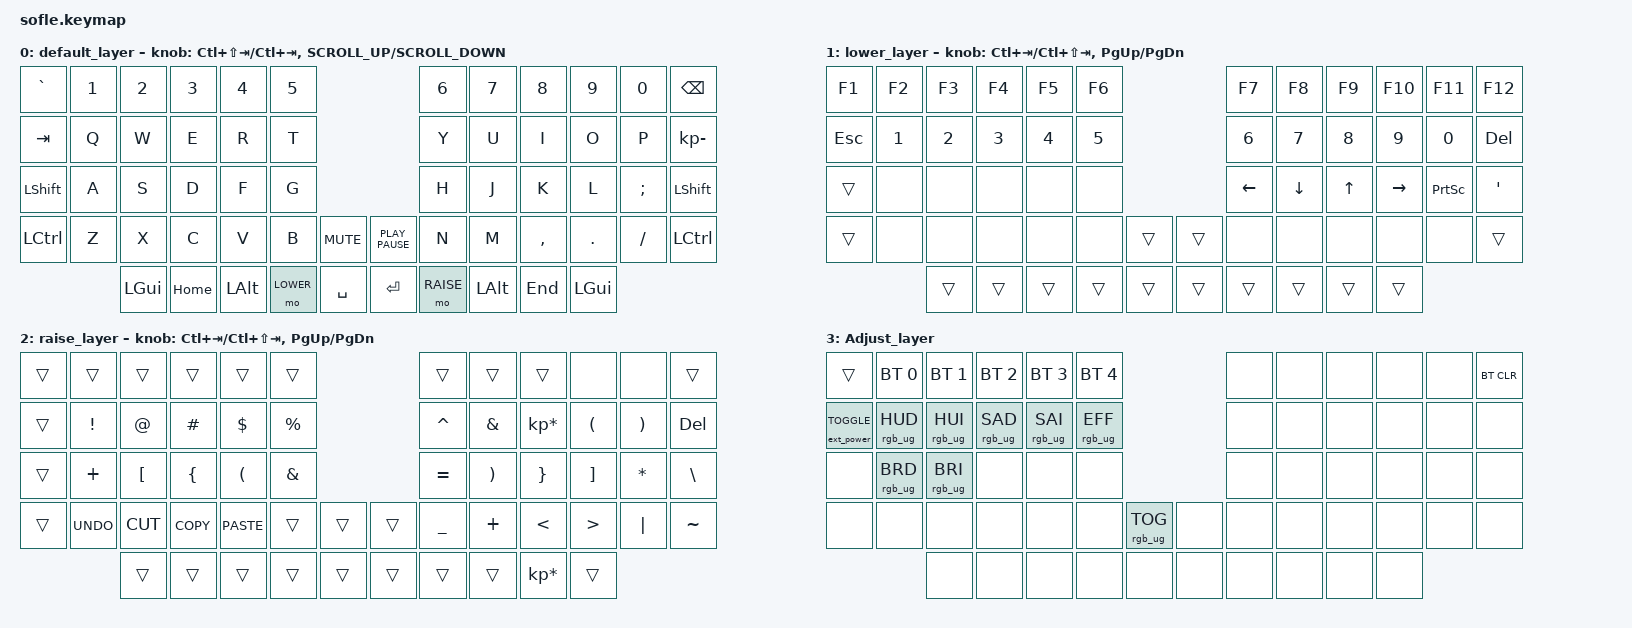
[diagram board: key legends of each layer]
/*
 * Copyright (c) 2020 The ZMK Contributors
 *
 * SPDX-License-Identifier: MIT
 */

#include <behaviors.dtsi>
#include <dt-bindings/zmk/bt.h>
#include <dt-bindings/zmk/ext_power.h>
#include <dt-bindings/zmk/keys.h>
#include <dt-bindings/zmk/rgb.h>

#define BASE 0
#define LOWER 1
#define RAISE 2
#define ADJUST 3

/ {
    // Activate ADJUST layer by pressing raise and lower

    conditional_layers {
        compatible = "zmk,conditional-layers";

        adjust_layer {
            if-layers = <LOWER RAISE>;
            then-layer = <ADJUST>;
        };
    };

    behaviors {
        gui_escape: gui_escape {
            compatible = "zmk,behavior-tap-dance";
            label = "GUI_ESCAPE";
            #binding-cells = <0>;
            bindings = <&kp LEFT_GUI>, <&kp ESCAPE>;
        };
    };

    keymap {
        compatible = "zmk,keymap";

        default_layer {
            // ------------------------------------------------------------------------------------------------------------
            // |  `    |  1  |  2  |  3   |  4   |  5   |                   |  6   |  7    |  8    |  9   |   0   | BKSPC |
            // |  ESC  |  Q  |  W  |  E   |  R   |  T   |                   |  Y   |  U    |  I    |  O   |   P   |   -   |
            // |  TAB  |  A  |  S  |  D   |  F   |  G   |                   |  H   |  J    |  K    |  L   |   ;   |   '   |
            // | SHIFT |  Z  |  X  |  C   |  V   |  B   |  MUTE  |  |       |  N   |  M    |  ,    |  .   |   /   | SHIFT |
            //               | GUI | ALT  | CTRL | LOWER|  SPACE |  | ENTER | RAISE| CTRL  | ALT   | GUI  |

            bindings = <
&kp GRAVE  &kp N1  &kp N2    &kp N3    &kp N4        &kp N5                                     &kp N6     &kp N7        &kp N8     &kp N9        &kp N0    &kp BSPC
&kp TAB    &kp Q   &kp W     &kp E     &kp R         &kp T                                      &kp Y      &kp U         &kp I      &kp O         &kp P     &kp KP_MINUS
&kp LSHFT  &kp A   &kp S     &kp D     &kp F         &kp G                                      &kp H      &kp J         &kp K      &kp L         &kp SEMI  &kp LEFT_SHIFT
&kp LCTRL  &kp Z   &kp X     &kp C     &kp V         &kp B      &kp C_MUTE    &kp K_PLAY_PAUSE  &kp N      &kp M         &kp COMMA  &kp DOT       &kp FSLH  &kp LEFT_CONTROL
                   &kp LGUI  &kp HOME  &kp LEFT_ALT  &mo LOWER  &kp SPACE     &kp RET           &mo RAISE  &kp LEFT_ALT  &kp END    &kp LEFT_GUI
            >;

            sensor-bindings =
                <&inc_dec_kp LC(LS(TAB)) LC(TAB)>,
                <&inc_dec_kp K_SCROLL_UP K_SCROLL_DOWN>;
        };

        lower_layer {
            // TODO: Some binds are waiting for shifted keycode support.
            // ------------------------------------------------------------------------------------------------------------
            // |       |  F1 |  F2 |  F3  |  F4  |  F5  |                   |  F6  |  F7   |  F8   |  F9  |  F10  |  F11  |
            // | `     |   1 |   2 |   3  |   4  |   5  |                   |   6  |   7   |   8   |   9  |    0  |  F12  |
            // |       |  !  |  @  |  #   |  $   |  %   |                   |  ^   |  &    |  *    |  (   |   )   |   |   |
            // |       |  =  |  -  |  +   |  {   |  }   |        |  |       |  [   |  ]    |  ;    |  :   |   \   |       |
            //               |     |      |      |      |        |  |       |      |       |       |      |

            bindings = <
&kp F1      &kp F2  &kp F3  &kp F4  &kp F5  &kp F6                    &kp F7          &kp F8          &kp F9        &kp F10          &kp F11          &kp F12
&kp ESCAPE  &kp N1  &kp N2  &kp N3  &kp N4  &kp N5                    &kp N6          &kp N7          &kp N8        &kp N9           &kp N0           &kp DEL
&trans      &none   &none   &none   &none   &none                     &kp LEFT_ARROW  &kp DOWN_ARROW  &kp UP_ARROW  &kp RIGHT_ARROW  &kp PRINTSCREEN  &kp SINGLE_QUOTE
&trans      &none   &none   &none   &none   &none   &trans    &trans  &none           &none           &none         &none            &none            &trans
                    &trans  &trans  &trans  &trans  &trans    &trans  &trans          &trans          &trans        &trans
            >;

            sensor-bindings =
                <&inc_dec_kp LC(TAB) LC(LS(TAB))>,
                <&inc_dec_kp PG_UP PG_DN>;
        };

        raise_layer {
            // ------------------------------------------------------------------------------------------------------------
            // |BTCLR| BT1  | BT2  |  BT3  |  BT4  |  BT5 |                |      |      |       |      |       |       |
            // |     | INS  | PSCR | GUI   |       |      |                | PGUP |      |   ^   |      |       |       |
            // |     | ALT  | CTRL | SHIFT |       | CAPS |                | PGDN |   <- |   v   |  ->  |  DEL  | BKSPC |
            // |     | UNDO | CUT  | COPY  | PASTE |      |      |  |      |      |      |       |      |       |       |
            //              |      |       |       |      |      |  |      |      |      |       |      |

            bindings = <
&trans  &trans           &trans            &trans          &trans                &trans                           &trans          &trans                 &trans           &none                 &none                  &trans
&trans  &kp EXCLAMATION  &kp AT_SIGN       &kp HASH        &kp DOLLAR            &kp PERCENT                      &kp CARET       &kp AMPERSAND          &kp KP_MULTIPLY  &kp LEFT_PARENTHESIS  &kp RIGHT_PARENTHESIS  &kp DEL
&trans  &kp PLUS         &kp LEFT_BRACKET  &kp LEFT_BRACE  &kp LEFT_PARENTHESIS  &kp AMPERSAND                    &kp EQUAL       &kp RIGHT_PARENTHESIS  &kp RIGHT_BRACE  &kp RIGHT_BRACKET     &kp ASTERISK           &kp BACKSLASH
&trans  &kp K_UNDO       &kp K_CUT         &kp K_COPY      &kp K_PASTE           &trans         &trans    &trans  &kp UNDERSCORE  &kp PLUS               &kp LESS_THAN    &kp GREATER_THAN      &kp PIPE               &kp TILDE
                         &trans            &trans          &trans                &trans         &trans    &trans  &trans          &trans                 &kp KP_MULTIPLY  &trans
            >;

            sensor-bindings =
                <&inc_dec_kp LC(TAB) LC(LS(TAB))>,
                <&inc_dec_kp PG_UP PG_DN>;
        };

        // ------------------------------------------------------------------------------------------------------------
        // |BTCLR | BT1   | BT2   |  BT3  |  BT4  |  BT5  |                |      |      |       |      |       |       |
        // |EXTPWR|RGB_HUD|RGB_HUI|RGB_SAD|RGB_SAI|RGB_EFF|                |      |      |       |      |       |       |
        // |      |RGB_BRD|RGB_BRI|       |       |       |                |      |      |       |      |       |       |
        // |      |       |       |       |       |       |RGB_TOG| |      |      |      |       |      |       |       |
        //                |       |       |       |       |       | |      |      |      |       |      |

        Adjust_layer {
            bindings = <
&trans                           &bt BT_SEL 0     &bt BT_SEL 1     &bt BT_SEL 2     &bt BT_SEL 3     &bt BT_SEL 4                               &none  &none  &none  &none  &none  &bt BT_CLR
&ext_power EXT_POWER_TOGGLE_CMD  &rgb_ug RGB_HUD  &rgb_ug RGB_HUI  &rgb_ug RGB_SAD  &rgb_ug RGB_SAI  &rgb_ug RGB_EFF                            &none  &none  &none  &none  &none  &none
&none                            &rgb_ug RGB_BRD  &rgb_ug RGB_BRI  &none            &none            &none                                      &none  &none  &none  &none  &none  &none
&none                            &none            &none            &none            &none            &none            &rgb_ug RGB_TOG    &none  &none  &none  &none  &none  &none  &none
                                                  &none            &none            &none            &none            &none              &none  &none  &none  &none  &none
            >;
        };
    };
};
